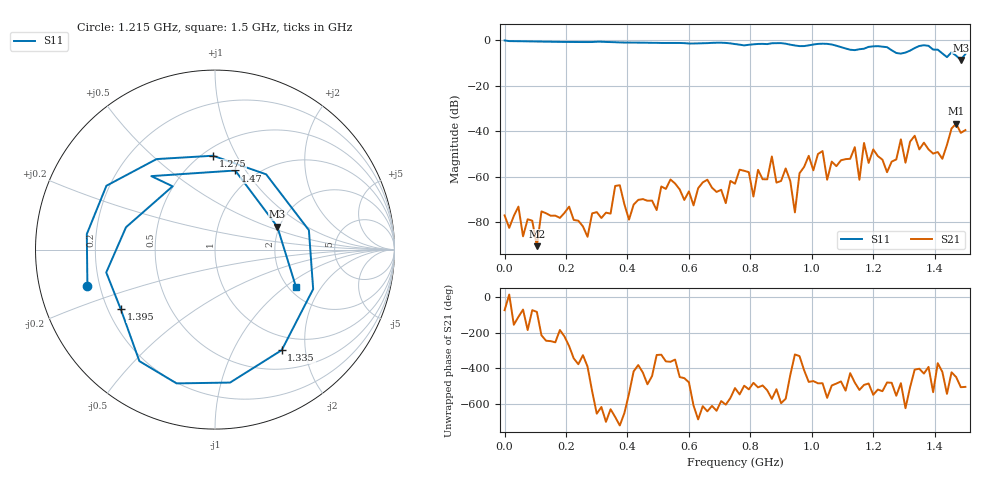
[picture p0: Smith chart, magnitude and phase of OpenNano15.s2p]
# HZ S RI R 50
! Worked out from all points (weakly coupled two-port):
!   101 points, 30 kHz to 1.5 GHz, reference 50 ohm
!   highest |S21| = -36.67 dB at 1.47 GHz (marker M1); lowest = -90.5 dB at 105 MHz (marker M2)
!   lowest |S11| = -8.6 dB at 1.485 GHz (marker M3), VSWR 2.17, Z = 97.5 + j28.9 ohm
!   |S11| at or under -10 dB: nowhere
!   S12 and S22 are empty: the file has one direction only
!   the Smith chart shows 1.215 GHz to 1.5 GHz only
!   S11 on the Smith chart (normalised r, x): 1.215 GHz: 0.15, -0.14; 1.275 GHz: 0.56, +0.81; 1.335 GHz: 0.77, -1.58; 1.395 GHz: 0.25, -0.27; 1.47 GHz: 0.81, +0.90; 1.5 GHz: 2.19, -1.20
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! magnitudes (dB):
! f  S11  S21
! 30 kHz  -0.1  -77.0
! 105 MHz  -0.6  -90.5
! 255 MHz  -0.8  -81.8
! 360 MHz  -0.9  -64.0
! 405 MHz  -1.0  -78.9
! 510 MHz  -1.2  -64.3
! 750 MHz  -1.7  -63.1
! 810 MHz  -1.8  -68.7
! 870 MHz  -1.4  -51.1
! 885 MHz  -1.3  -62.6
! 915 MHz  -1.6  -56.3
! 945 MHz  -2.3  -75.7
! 960 MHz  -2.6  -58.5
! 1.005 GHz  -1.9  -57.2
! 1.215 GHz  -2.6  -50.9
! 1.26 GHz  -4.4  -53.4
! 1.275 GHz  -5.6  -52.4
! 1.335 GHz  -3.4  -42.0
! 1.395 GHz  -4.1  -49.8
! 1.47 GHz  -6.8  -36.7
! 1.485 GHz  -8.6  -40.7
! 1.5 GHz  -6.1  -39.5
